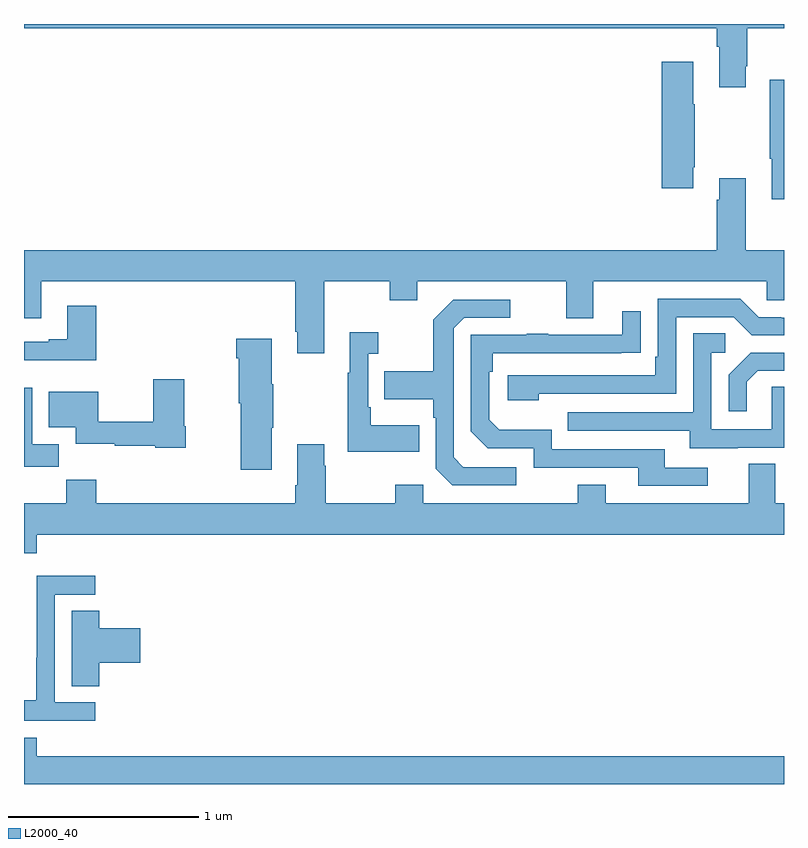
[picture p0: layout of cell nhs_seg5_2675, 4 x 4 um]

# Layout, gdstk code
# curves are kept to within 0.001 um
import gdstk
lib = gdstk.Library(unit=1e-6, precision=1e-09)
def P(c, l, *ps):  # polygons
    for p in ps: c.add(gdstk.Polygon(p, *l))
L2000_40 = (2000, 40)

nhs_seg5_2675 = lib.new_cell('nhs_seg5_2675')
P(nhs_seg5_2675, L2000_40, [(270.799,840.577),(270.807,840.577),(270.807,840.776),(271,840.776),(271,840.799),(267,840.799),(267,840.776),(270.647,840.776),(270.647,840.68),(270.659,840.68),(270.659,840.465),(270.799,840.465)],
  [(270.523,840.046),(270.531,840.046),(270.531,840.377),(270.523,840.377),(270.523,840.601),(270.356,840.601),(270.356,839.934),(270.523,839.934)],
  [(271,840.505),(270.924,840.505),(270.924,840.089),(270.935,840.089),(270.935,839.877),(271,839.877)],
  [(268.579,839.444),(268.924,839.444),(268.924,839.345),(269.071,839.345),(269.071,839.444),(269.855,839.444),(269.855,839.25),(269.995,839.25),(269.995,839.444),(270.909,839.444),(270.909,839.346),(271,839.346),(271,839.608),(270.799,839.608),(270.799,839.986),(270.659,839.986),(270.659,839.873),(270.647,839.873),(270.647,839.608),(267,839.608),(267,839.25),(267.091,839.25),(267.091,839.444),(268.427,839.444),(268.427,839.179),(268.439,839.179),(268.439,839.067),(268.579,839.067)],
  [(269.708,838.854),(270.432,838.854),(270.432,839.256),(270.735,839.256),(270.831,839.16),(271,839.16),(271,839.253),(270.986,839.253),(270.986,839.256),(270.867,839.256),(270.771,839.352),(270.336,839.352),(270.336,839.047),(270.323,839.047),(270.323,838.95),(269.547,838.95),(269.547,838.82),(269.708,838.82)],
  [(269.59,838.467),(269.313,838.467),(269.262,838.518),(269.262,839.199),(269.316,839.253),(269.56,839.253),(269.56,839.349),(269.259,839.349),(269.154,839.243),(269.154,838.971),(268.897,838.971),(268.897,838.823),(269.154,838.823),(269.154,838.727),(269.166,838.727),(269.166,838.458),(269.253,838.371),(269.59,838.371)],
  [(267.38,839.317),(267.227,839.317),(267.227,839.14),(267.131,839.14),(267.131,839.127),(267,839.127),(267,839.03),(267.38,839.03)],
  [(270.598,838.464),(270.373,838.464),(270.373,838.56),(269.778,838.56),(269.778,838.663),(269.501,838.663),(269.448,838.716),(269.448,838.97),(269.468,838.97),(269.468,839.067),(270.245,839.068),(270.245,839.287),(270.149,839.287),(270.149,839.163),(269.759,839.163),(269.759,839.168),(269.647,839.168),(269.647,839.163),(269.352,839.163),(269.352,838.656),(269.442,838.566),(269.682,838.566),(269.682,838.464),(270.233,838.464),(270.233,838.368),(270.598,838.368)],
  [(269.081,838.687),(268.825,838.687),(268.825,838.783),(268.812,838.783),(268.812,839.063),(268.864,839.063),(268.864,839.176),(268.715,839.176),(268.715,838.963),(268.704,838.963),(268.704,838.547),(269.081,838.547)],
  [(270.757,838.569),(271,838.569),(271,838.889),(270.936,838.889),(270.936,838.665),(270.618,838.665),(270.618,839.07),(270.691,839.07),(270.691,839.171),(270.522,839.171),(270.522,838.755),(269.863,838.755),(269.863,838.659),(270.503,838.659),(270.503,838.565),(270.757,838.565)],
  [(268.303,838.675),(268.311,838.675),(268.311,838.903),(268.303,838.903),(268.303,839.143),(268.118,839.143),(268.118,839.039),(268.13,839.039),(268.13,838.803),(268.141,838.803),(268.141,838.452),(268.303,838.452)],
  [(270.805,838.917),(270.862,838.974),(271,838.974),(271,839.07),(270.824,839.07),(270.708,838.954),(270.708,838.761),(270.805,838.761)],
  [(267.852,838.681),(267.844,838.681),(267.844,838.93),(267.679,838.93),(267.679,838.706),(267.39,838.706),(267.39,838.864),(267.131,838.864),(267.131,838.676),(267.272,838.676),(267.272,838.589),(267.478,838.589),(267.478,838.578),(267.69,838.578),(267.69,838.57),(267.852,838.57)],
  [(267.182,838.588),(267.043,838.588),(267.043,838.885),(267,838.885),(267,838.47),(267.182,838.47)],
  [(267,838.013),(267.068,838.013),(267.068,838.112),(271,838.112),(271,838.276),(270.955,838.276),(270.955,838.484),(270.815,838.484),(270.815,838.276),(270.061,838.276),(270.061,838.375),(269.914,838.375),(269.914,838.276),(269.1,838.276),(269.1,838.375),(268.954,838.375),(268.954,838.276),(268.587,838.276),(268.587,838.475),(268.579,838.475),(268.579,838.588),(268.439,838.588),(268.439,838.372),(268.427,838.372),(268.427,838.276),(267.38,838.276),(267.38,838.4),(267.223,838.4),(267.223,838.276),(267,838.276)],
  [(267.376,837.228),(267.162,837.228),(267.162,837.795),(267.376,837.795),(267.376,837.894),(267.066,837.894),(267.066,837.464),(267.064,837.464),(267.064,837.241),(267,837.241),(267,837.132),(267.376,837.132)],
  [(267.395,837.437),(267.613,837.437),(267.613,837.62),(267.395,837.62),(267.395,837.71),(267.251,837.71),(267.251,837.313),(267.395,837.313)],
  [(271,836.944),(267.068,836.944),(267.068,837.043),(267,837.043),(267,836.799),(271,836.799)])

lib.write_gds('nhs_seg5_2675.gds')
